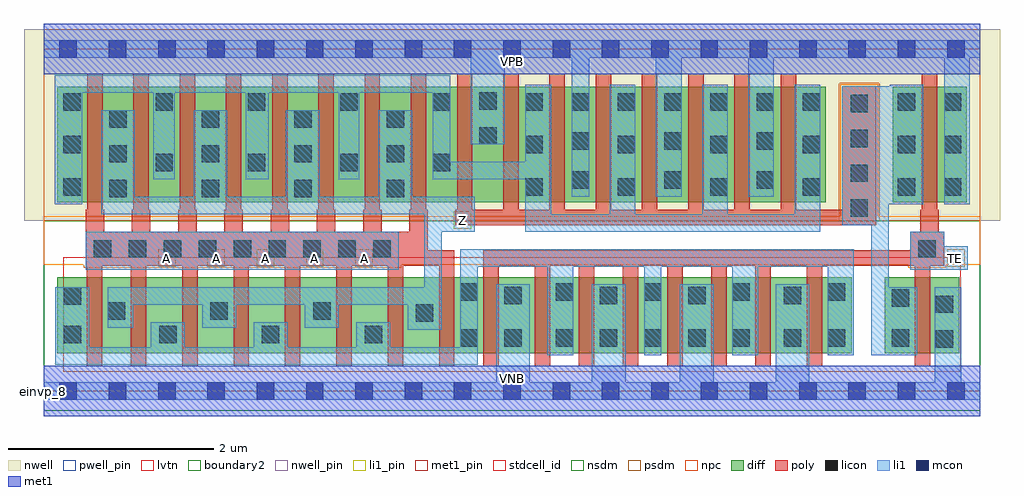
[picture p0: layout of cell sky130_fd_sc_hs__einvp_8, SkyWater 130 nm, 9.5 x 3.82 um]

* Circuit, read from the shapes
.subckt sky130_fd_sc_hs__einvp_8 A TE VGND VNB VPB VPWR Z
XM1 Z A n1 VNB sky130_fd_pr__nfet_01v8_lvt w=0.74 l=0.15 m=8
XM2 VGND TE n1 VNB sky130_fd_pr__nfet_01v8_lvt w=0.74 l=0.15 m=8
XM3 VGND TE n2 VNB sky130_fd_pr__nfet_01v8_lvt w=0.74 l=0.15
XM4 Z A n3 VPB sky130_fd_pr__pfet_01v8 w=1.12 l=0.15 m=8
XM5 VPWR n2 n3 VPB sky130_fd_pr__pfet_01v8 w=1.12 l=0.15 m=8
XM6 VPWR TE n2 VPB sky130_fd_pr__pfet_01v8 w=1.12 l=0.15
.ends

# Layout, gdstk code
import gdstk
lib = gdstk.Library(unit=1e-6, precision=1e-09)
def R(c, l, rs):  # rectangles x0, y0, x1, y1
    for r in rs: c.add(gdstk.rectangle(r[:2], r[2:], *l))
def A(c, l, x, y, w, h, nx, ny, dx, dy):  # array of equal rectangles
    R(c, l, [(x+i*dx, y+j*dy, x+i*dx+w, y+j*dy+h) for i in range(nx) for j in range(ny)])
def P(c, l, *ps):  # polygons
    for p in ps: c.add(gdstk.Polygon(p, *l))
nwell_pin = (64, 16)
nwell = (64, 20)
diff = (65, 20)
poly = (66, 20)
licon = (66, 44)
li1_pin = (67, 16)
li1 = (67, 20)
mcon = (67, 44)
met1_pin = (68, 16)
met1 = (68, 20)
stdcell_id = (81, 4)
nsdm = (93, 44)
psdm = (94, 20)
npc = (95, 20)
pwell_pin = (122, 16)
lvtn = (125, 44)
boundary2 = (236, 0)

sky130_fd_sc_hs__einvp_8 = lib.new_cell('sky130_fd_sc_hs__einvp_8')
R(sky130_fd_sc_hs__einvp_8, nwell_pin, [(0,3.085,9.12,3.33)])
R(sky130_fd_sc_hs__einvp_8, nwell, [(-0.19,1.66,9.31,3.52)])
R(sky130_fd_sc_hs__einvp_8, diff, [(0.135,0.37,7.865,1.11), (8.19,0.37,8.915,1.11), (0.135,1.84,7.615,2.96), (8.265,1.84,8.985,2.96)])
P(sky130_fd_sc_hs__einvp_8, poly, [(8.765,1.55),(8.715,1.55),(8.715,1.765),(8.7,1.765),(8.7,3.09),(8.55,3.09),(8.55,1.765),(8.535,1.765),(8.535,1.55),(8.435,1.55),(8.435,1.37),(4.28,1.37),(4.28,0.24),(4.43,0.24),(4.43,1.22),(4.78,1.22),(4.78,0.24),(4.93,0.24),(4.93,1.22),(5.21,1.22),(5.21,0.24),(5.36,0.24),(5.36,1.22),(5.64,1.22),(5.64,0.24),(5.79,0.24),(5.79,1.22),(6.07,1.22),(6.07,0.24),(6.22,0.24),(6.22,1.22),(6.5,1.22),(6.5,0.24),(6.65,0.24),(6.65,1.22),(6.93,1.22),(6.93,0.24),(7.08,0.24),(7.08,1.22),(7.43,1.22),(7.43,0.24),(7.58,0.24),(7.58,1.22),(8.48,1.22),(8.48,0.24),(8.63,0.24),(8.63,1.22),(8.765,1.22)],
  [(8.105,2.965),(7.775,2.965),(7.775,1.765),(7.325,1.765),(7.325,3.09),(7.175,3.09),(7.175,1.765),(6.875,1.765),(6.875,3.09),(6.725,3.09),(6.725,1.765),(6.425,1.765),(6.425,3.09),(6.275,3.09),(6.275,1.765),(5.975,1.765),(5.975,3.09),(5.825,3.09),(5.825,1.765),(5.525,1.765),(5.525,3.09),(5.375,3.09),(5.375,1.765),(5.075,1.765),(5.075,3.09),(4.925,3.09),(4.925,1.765),(4.625,1.765),(4.625,3.09),(4.475,3.09),(4.475,1.765),(4.175,1.765),(4.175,3.09),(4.025,3.09),(4.025,1.765),(4.01,1.765),(4.01,1.615),(8.105,1.615)],
  [(4,1.37),(3.74,1.37),(3.74,1.765),(3.725,1.765),(3.725,3.09),(3.575,3.09),(3.575,1.765),(3.56,1.765),(3.56,1.55),(3.29,1.55),(3.29,1.765),(3.275,1.765),(3.275,3.09),(3.125,3.09),(3.125,1.765),(3.11,1.765),(3.11,1.55),(2.84,1.55),(2.84,1.765),(2.825,1.765),(2.825,3.09),(2.675,3.09),(2.675,1.765),(2.66,1.765),(2.66,1.55),(2.39,1.55),(2.39,1.765),(2.375,1.765),(2.375,3.09),(2.225,3.09),(2.225,1.765),(2.21,1.765),(2.21,1.55),(1.94,1.55),(1.94,1.765),(1.925,1.765),(1.925,3.09),(1.775,3.09),(1.775,1.765),(1.76,1.765),(1.76,1.55),(1.49,1.55),(1.49,1.765),(1.475,1.765),(1.475,3.09),(1.325,3.09),(1.325,1.765),(1.31,1.765),(1.31,1.55),(1.04,1.55),(1.04,1.765),(1.025,1.765),(1.025,3.09),(0.875,3.09),(0.875,1.765),(0.86,1.765),(0.86,1.55),(0.59,1.55),(0.59,1.765),(0.575,1.765),(0.575,3.09),(0.425,3.09),(0.425,1.765),(0.41,1.765),(0.41,1.22),(0.42,1.22),(0.42,0.24),(0.57,0.24),(0.57,1.22),(0.85,1.22),(0.85,0.24),(1,0.24),(1,1.22),(1.35,1.22),(1.35,0.24),(1.5,0.24),(1.5,1.22),(1.85,1.22),(1.85,0.24),(2,0.24),(2,1.22),(2.35,1.22),(2.35,0.24),(2.5,0.24),(2.5,1.22),(2.85,1.22),(2.85,0.24),(3,0.24),(3,1.22),(3.35,1.22),(3.35,0.24),(3.5,0.24),(3.5,1.22),(3.85,1.22),(3.85,0.24),(4,0.24)])
A(sky130_fd_sc_hs__einvp_8, licon, 4.985, 0.43, 0.17, 0.17, 5, 1, 0.43, 0)
A(sky130_fd_sc_hs__einvp_8, licon, 1.125, 0.465, 0.17, 0.17, 3, 1, 1, 0)
A(sky130_fd_sc_hs__einvp_8, licon, 0.625, 0.695, 0.17, 0.17, 3, 1, 1, 0)
A(sky130_fd_sc_hs__einvp_8, licon, 4.985, 0.88, 0.17, 0.17, 3, 1, 0.86, 0)
A(sky130_fd_sc_hs__einvp_8, licon, 0.49, 1.3, 0.17, 0.17, 9, 1, 0.34, 0)
A(sky130_fd_sc_hs__einvp_8, licon, 7.855, 1.695, 0.17, 0.17, 1, 4, 0, 0.34)
A(sky130_fd_sc_hs__einvp_8, licon, 0.64, 1.885, 0.17, 0.17, 4, 3, 0.9, 0.34)
A(sky130_fd_sc_hs__einvp_8, licon, 4.69, 1.9, 0.17, 0.17, 4, 2, 0.9, 0.415)
A(sky130_fd_sc_hs__einvp_8, licon, 8.315, 1.9, 0.17, 0.17, 1, 3, 0, 0.415)
A(sky130_fd_sc_hs__einvp_8, licon, 8.765, 1.9, 0.17, 0.17, 1, 3, 0, 0.415)
A(sky130_fd_sc_hs__einvp_8, licon, 5.14, 1.97, 0.17, 0.17, 3, 2, 0.9, 0.38)
A(sky130_fd_sc_hs__einvp_8, licon, 1.09, 2.14, 0.17, 0.17, 4, 1, 0.9, 0)
A(sky130_fd_sc_hs__einvp_8, licon, 0.19, 2.73, 0.17, 0.17, 6, 1, 0.9, 0)
A(sky130_fd_sc_hs__einvp_8, licon, 5.14, 2.73, 0.17, 0.17, 6, 1, 0.45, 0)
R(sky130_fd_sc_hs__einvp_8, licon, [(8.685,0.42,8.855,0.59), (4.055,0.43,4.225,0.6), (4.485,0.43,4.655,0.6), (7.205,0.43,7.375,0.6), (7.635,0.43,7.805,0.6), (8.255,0.43,8.425,0.6), (0.195,0.465,0.365,0.635), (3.625,0.675,3.795,0.845), (8.685,0.76,8.855,0.93), (8.255,0.82,8.425,0.99), (0.195,0.84,0.365,1.01), (4.485,0.845,4.655,1.015), (5.415,0.845,5.585,1.015), (6.275,0.845,6.445,1.015), (7.205,0.845,7.375,1.015), (4.055,0.88,4.225,1.05), (7.635,0.88,7.805,1.05), (8.515,1.3,8.685,1.47), (0.19,1.9,0.36,2.07), (0.19,2.315,0.36,2.485), (4.24,2.4,4.41,2.57), (4.24,2.74,4.41,2.91)])
A(sky130_fd_sc_hs__einvp_8, li1_pin, 1.115, 1.21, 0.17, 0.17, 5, 1, 0.48, 0)
R(sky130_fd_sc_hs__einvp_8, li1_pin, [(8.795,1.21,8.965,1.38), (3.995,1.58,4.165,1.75)])
R(sky130_fd_sc_hs__einvp_8, li1, [(0.41,1.18,3.46,1.55)])
P(sky130_fd_sc_hs__einvp_8, li1, [(0,-0.085),(0,0.085),(4.405,0.085),(4.405,1.04),(4.735,1.04),(4.735,0.085),(5.335,0.085),(5.335,1.04),(5.665,1.04),(5.665,0.085),(6.195,0.085),(6.195,1.04),(6.525,1.04),(6.525,0.085),(7.125,0.085),(7.125,1.04),(7.455,1.04),(7.455,0.085),(8.675,0.085),(8.675,1.01),(8.935,1.01),(8.935,0.085),(9.12,0.085),(9.12,-0.085)],
  [(0,3.245),(0,3.415),(9.12,3.415),(9.12,3.245),(9.015,3.245),(9.015,1.82),(8.765,1.82),(8.765,3.245),(7.11,3.245),(7.11,1.89),(6.86,1.89),(6.86,3.245),(6.21,3.245),(6.21,1.89),(5.96,1.89),(5.96,3.245),(5.31,3.245),(5.31,1.89),(5.14,1.89),(5.14,3.245),(4.49,3.245),(4.49,2.4),(4.16,2.4),(4.16,3.245)],
  [(3.705,1.01),(3.705,1.72),(0.56,1.72),(0.56,2.735),(0.89,2.735),(0.89,1.89),(1.46,1.89),(1.46,2.735),(1.79,2.735),(1.79,1.89),(2.36,1.89),(2.36,2.735),(2.69,2.735),(2.69,1.89),(3.26,1.89),(3.26,2.735),(3.59,2.735),(3.59,1.89),(4.195,1.89),(4.195,1.55),(3.875,1.55),(3.875,0.595),(3.545,0.595),(3.545,0.84),(2.875,0.84),(2.875,0.615),(2.545,0.615),(2.545,0.84),(1.875,0.84),(1.875,0.615),(1.545,0.615),(1.545,0.84),(0.875,0.84),(0.875,0.615),(0.625,0.615),(0.625,1.01)],
  [(8.435,1.18),(8.435,1.55),(8.765,1.55),(8.765,1.41),(8.995,1.41),(8.995,1.18)],
  [(3.045,0.425),(3.045,0.67),(3.375,0.67),(3.375,0.425),(4.055,0.425),(4.055,1.38),(7.885,1.38),(7.885,0.35),(7.635,0.35),(7.635,1.21),(6.955,1.21),(6.955,0.35),(6.705,0.35),(6.705,1.21),(6.015,1.21),(6.015,0.35),(5.845,0.35),(5.845,1.21),(5.155,1.21),(5.155,0.35),(4.905,0.35),(4.905,1.21),(4.225,1.21),(4.225,0.255),(0.115,0.255),(0.115,1.01),(0.445,1.01),(0.445,0.425),(1.045,0.425),(1.045,0.67),(1.375,0.67),(1.375,0.425),(2.045,0.425),(2.045,0.67),(2.375,0.67),(2.375,0.425)],
  [(8.225,1.82),(8.225,1.01),(8.505,1.01),(8.505,0.35),(8.055,0.35),(8.055,1.615),(7.775,1.615),(7.775,2.965),(8.235,2.965),(8.235,2.98),(8.565,2.98),(8.565,1.82)],
  [(1.07,2.905),(0.375,2.905),(0.375,1.82),(0.11,1.82),(0.11,3.075),(3.96,3.075),(3.96,2.23),(4.69,2.23),(4.69,2.98),(4.94,2.98),(4.94,1.72),(5.51,1.72),(5.51,2.98),(5.76,2.98),(5.76,1.72),(6.41,1.72),(6.41,2.98),(6.66,2.98),(6.66,1.72),(7.31,1.72),(7.31,2.98),(7.56,2.98),(7.56,1.55),(4.69,1.55),(4.69,2.06),(3.79,2.06),(3.79,2.905),(3.075,2.905),(3.075,2.06),(2.875,2.06),(2.875,2.905),(2.19,2.905),(2.19,2.06),(1.97,2.06),(1.97,2.905),(1.275,2.905),(1.275,2.06),(1.07,2.06)])
A(sky130_fd_sc_hs__einvp_8, mcon, 0.155, -0.085, 0.17, 0.17, 19, 2, 0.48, 3.33)
R(sky130_fd_sc_hs__einvp_8, met1_pin, [(0,0,9.12,0.245), (0,3.085,9.12,3.33)])
R(sky130_fd_sc_hs__einvp_8, met1, [(0,-0.245,9.12,0.245), (0,3.085,9.12,3.575)])
R(sky130_fd_sc_hs__einvp_8, stdcell_id, [(0,0,9.12,3.33)])
R(sky130_fd_sc_hs__einvp_8, nsdm, [(0,-0.19,9.12,1.66)])
P(sky130_fd_sc_hs__einvp_8, psdm, [(9.12,3.52),(0,3.52),(0,1.66),(7.745,1.66),(7.745,2.995),(8.135,2.995),(8.135,1.66),(9.12,1.66)])
P(sky130_fd_sc_hs__einvp_8, npc, [(9.12,1.7),(8.125,1.7),(8.125,2.985),(7.755,2.985),(7.755,1.7),(0,1.7),(0,1.23),(0.39,1.23),(0.39,1.2),(3.48,1.2),(3.48,1.23),(8.415,1.23),(8.415,1.2),(8.785,1.2),(8.785,1.23),(9.12,1.23)])
R(sky130_fd_sc_hs__einvp_8, pwell_pin, [(0,0,9.12,0.245)])
R(sky130_fd_sc_hs__einvp_8, lvtn, [(0.19,0.19,8.93,1.3)])
R(sky130_fd_sc_hs__einvp_8, boundary2, [(0,0,9.12,3.33)])
sky130_fd_sc_hs__einvp_8.add(gdstk.Label('einvp_8', (0,0), layer=83, texttype=44))
sky130_fd_sc_hs__einvp_8.add(gdstk.Label('VNB', (4.56,0.123), layer=64, texttype=59))
sky130_fd_sc_hs__einvp_8.add(gdstk.Label('VPB', (4.56,3.208), layer=64, texttype=5))
sky130_fd_sc_hs__einvp_8.add(gdstk.Label('VPWR', (4.56,3.208), layer=68, texttype=5))
sky130_fd_sc_hs__einvp_8.add(gdstk.Label('VGND', (4.56,0.123), layer=68, texttype=5))
sky130_fd_sc_hs__einvp_8.add(gdstk.Label('Z', (4.08,1.665), layer=67, texttype=5))
sky130_fd_sc_hs__einvp_8.add(gdstk.Label('TE', (8.88,1.295), layer=67, texttype=5))
sky130_fd_sc_hs__einvp_8.add(gdstk.Label('A', (1.2,1.295), layer=67, texttype=5))
sky130_fd_sc_hs__einvp_8.add(gdstk.Label('A', (1.68,1.295), layer=67, texttype=5))
sky130_fd_sc_hs__einvp_8.add(gdstk.Label('A', (2.16,1.295), layer=67, texttype=5))
sky130_fd_sc_hs__einvp_8.add(gdstk.Label('A', (2.64,1.295), layer=67, texttype=5))
sky130_fd_sc_hs__einvp_8.add(gdstk.Label('A', (3.12,1.295), layer=67, texttype=5))

lib.write_gds('sky130_fd_sc_hs__einvp_8.gds')
